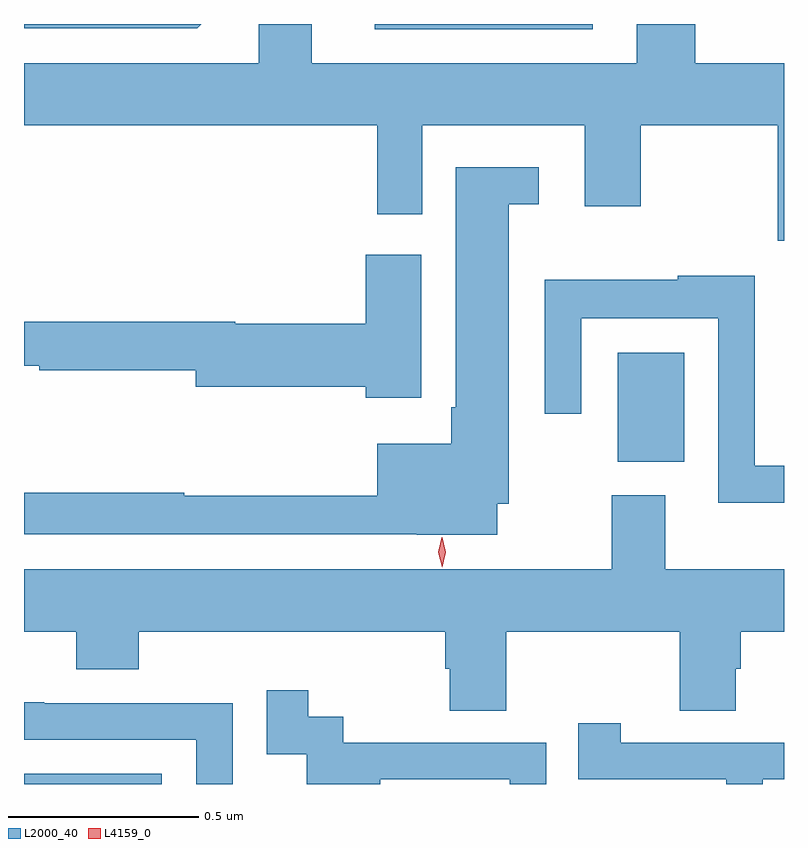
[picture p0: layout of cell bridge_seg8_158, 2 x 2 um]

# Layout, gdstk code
import gdstk
lib = gdstk.Library(unit=1e-6, precision=1e-09)
def R(c, l, rs):  # rectangles x0, y0, x1, y1
    for r in rs: c.add(gdstk.rectangle(r[:2], r[2:], *l))
def P(c, l, *ps):  # polygons
    for p in ps: c.add(gdstk.Polygon(p, *l))
L2000_40 = (2000, 40)
L4159_0 = (4159, 0)

bridge_seg8_158 = lib.new_cell('bridge_seg8_158')
R(bridge_seg8_158, L2000_40, [(554.28,1129.419,554.643,1129.446), (555.842,1130.267,556.018,1130.554), (555.203,1131.405,555.777,1131.419)])
P(bridge_seg8_158, L2000_40, [(556.28,1131.316),(556.046,1131.316),(556.046,1131.419),(555.893,1131.419),(555.893,1131.316),(555.037,1131.316),(555.037,1131.419),(554.898,1131.419),(554.898,1131.316),(554.28,1131.316),(554.28,1131.152),(555.21,1131.152),(555.21,1130.919),(555.328,1130.919),(555.328,1131.152),(555.755,1131.152),(555.755,1130.94),(555.903,1130.94),(555.903,1131.152),(556.264,1131.152),(556.264,1130.848),(556.28,1130.848)],
  [(554.747,1131.419),(554.28,1131.419),(554.28,1131.408),(554.736,1131.408)],
  [(555.526,1130.156),(555.556,1130.156),(555.556,1130.945),(555.634,1130.945),(555.634,1131.042),(555.416,1131.042),(555.416,1130.41),(555.404,1130.41),(555.404,1130.314),(555.209,1130.314),(555.209,1130.177),(554.702,1130.177),(554.702,1130.185),(554.28,1130.185),(554.28,1130.076),(555.313,1130.076),(555.313,1130.075),(555.526,1130.075)],
  [(555.325,1130.812),(555.179,1130.812),(555.179,1130.63),(554.836,1130.63),(554.836,1130.636),(554.28,1130.636),(554.28,1130.52),(554.32,1130.52),(554.32,1130.508),(554.732,1130.508),(554.732,1130.465),(555.179,1130.465),(555.179,1130.435),(555.325,1130.435)],
  [(556.28,1130.256),(556.203,1130.256),(556.203,1130.756),(556,1130.756),(556,1130.746),(555.651,1130.746),(555.651,1130.394),(555.747,1130.394),(555.747,1130.645),(556.107,1130.645),(556.107,1130.159),(556.28,1130.159)],
  [(554.28,1129.82),(554.417,1129.82),(554.417,1129.721),(554.582,1129.721),(554.582,1129.82),(555.389,1129.82),(555.389,1129.722),(555.401,1129.722),(555.401,1129.612),(555.549,1129.612),(555.549,1129.82),(556.006,1129.82),(556.006,1129.612),(556.153,1129.612),(556.153,1129.722),(556.166,1129.722),(556.166,1129.82),(556.28,1129.82),(556.28,1129.984),(555.967,1129.984),(555.967,1130.179),(555.827,1130.179),(555.827,1129.984),(554.28,1129.984)],
  [(555.217,1129.431),(555.558,1129.431),(555.558,1129.419),(555.654,1129.419),(555.654,1129.527),(555.12,1129.527),(555.12,1129.596),(555.028,1129.596),(555.028,1129.666),(554.919,1129.666),(554.919,1129.497),(555.024,1129.497),(555.024,1129.419),(555.217,1129.419)],
  [(554.829,1129.632),(554.333,1129.632),(554.333,1129.634),(554.28,1129.634),(554.28,1129.536),(554.733,1129.536),(554.733,1129.419),(554.829,1129.419)],
  [(556.224,1129.431),(556.28,1129.431),(556.28,1129.527),(555.85,1129.527),(555.85,1129.579),(555.739,1129.579),(555.739,1129.431),(556.128,1129.431),(556.128,1129.419),(556.224,1129.419)])
P(bridge_seg8_158, L4159_0, [(555.38,1129.99),(555.38,1129.99),(555.37,1130.029),(555.379,1130.068),(555.38,1130.069),(555.38,1130.068),(555.39,1130.029),(555.38,1129.99)])

lib.write_gds('bridge_seg8_158.gds')
